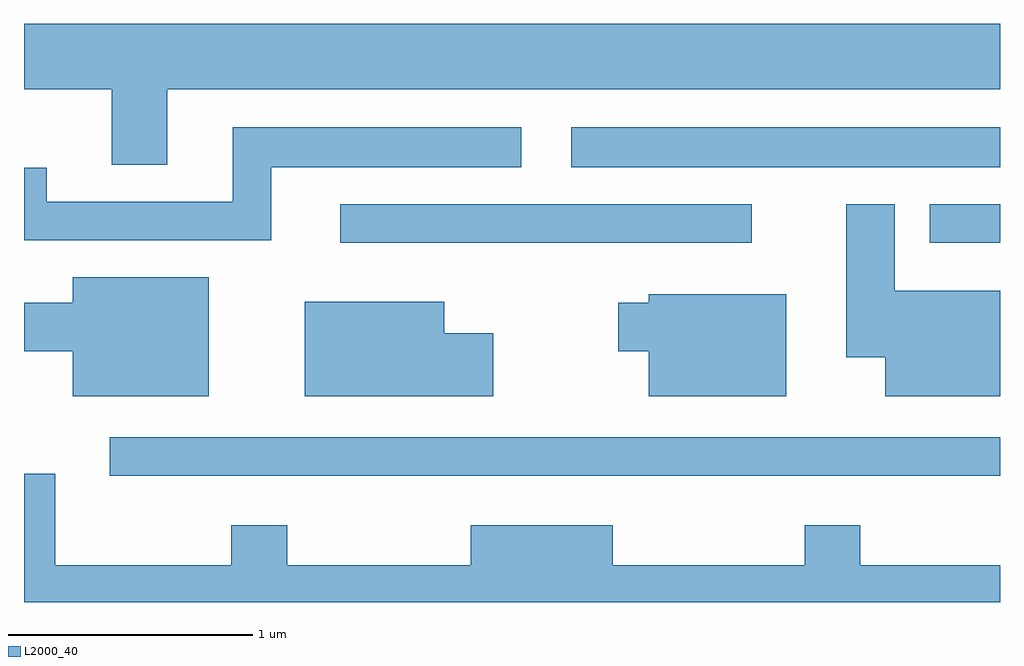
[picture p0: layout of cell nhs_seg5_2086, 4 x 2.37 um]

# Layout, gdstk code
import gdstk
lib = gdstk.Library(unit=1e-6, precision=1e-09)
def R(c, l, rs):  # rectangles x0, y0, x1, y1
    for r in rs: c.add(gdstk.rectangle(r[:2], r[2:], *l))
def P(c, l, *ps):  # polygons
    for p in ps: c.add(gdstk.Polygon(p, *l))
L2000_40 = (2000, 40)

nhs_seg5_2086 = lib.new_cell('nhs_seg5_2086')
R(nhs_seg5_2086, L2000_40, [(247.963,1408.591,251.611,1408.749), (248.908,1409.546,250.593,1409.704), (251.323,1409.546,251.611,1409.704), (249.853,1409.856,251.611,1410.019)])
P(nhs_seg5_2086, L2000_40, [(248.199,1410.176),(251.611,1410.176),(251.611,1410.444),(247.611,1410.444),(247.611,1410.176),(247.971,1410.176),(247.971,1409.866),(248.199,1409.866)],
  [(248.624,1409.856),(249.648,1409.856),(249.648,1410.019),(248.466,1410.019),(248.466,1409.714),(247.704,1409.714),(247.704,1409.853),(247.611,1409.853),(247.611,1409.556),(248.624,1409.556)],
  [(251.611,1409.349),(251.179,1409.349),(251.179,1409.704),(250.981,1409.704),(250.981,1409.076),(251.141,1409.076),(251.141,1408.916),(251.611,1408.916)],
  [(248.369,1409.404),(247.811,1409.404),(247.811,1409.299),(247.611,1409.299),(247.611,1409.101),(247.811,1409.101),(247.811,1408.916),(248.369,1408.916)],
  [(250.734,1409.334),(250.171,1409.334),(250.171,1409.299),(250.046,1409.299),(250.046,1409.101),(250.171,1409.101),(250.171,1408.916),(250.734,1408.916)],
  [(249.534,1409.174),(249.334,1409.174),(249.334,1409.304),(248.761,1409.304),(248.761,1408.916),(249.534,1408.916)],
  [(251.611,1408.224),(251.039,1408.224),(251.039,1408.389),(250.811,1408.389),(250.811,1408.224),(250.024,1408.224),(250.024,1408.389),(249.441,1408.389),(249.441,1408.224),(248.689,1408.224),(248.689,1408.389),(248.461,1408.389),(248.461,1408.224),(247.739,1408.224),(247.739,1408.599),(247.611,1408.599),(247.611,1408.072),(251.611,1408.072)])

lib.write_gds('nhs_seg5_2086.gds')
